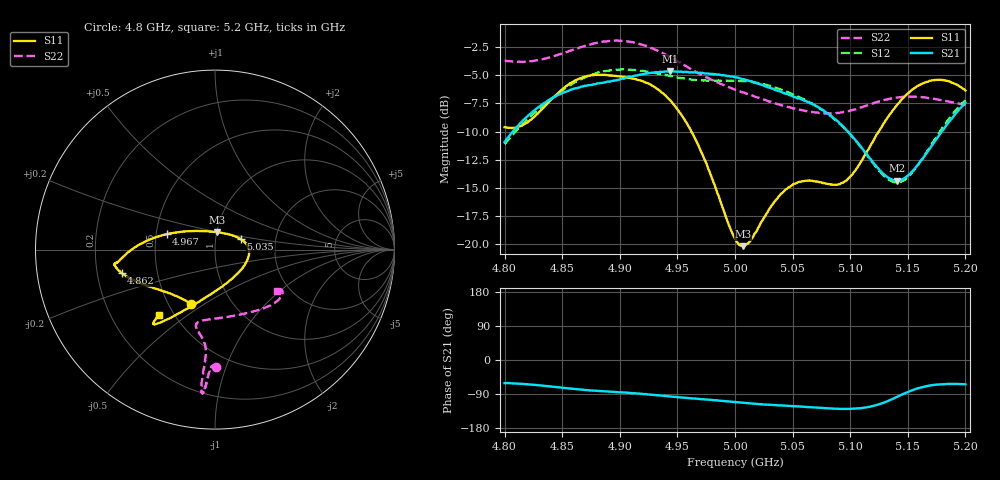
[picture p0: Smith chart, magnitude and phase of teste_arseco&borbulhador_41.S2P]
! Network Analyzer HP8722D
! Hewlett-Packard
! Data name: Linha & Wilkinson
! Saver's name: Rodrigo Anjos
! Comments: Teste da utilização de aquisição
! continua pelo VNA HP8722D
! Time and date: 15/4/2025 15:58
!  Frequency  S11  S21  S12  S22
# HZ  S  MA R 50
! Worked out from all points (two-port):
!   401 points, 4.8 GHz to 5.2 GHz, reference 50 ohm
!   highest |S21| = -4.63 dB at 4.944 GHz (marker M1); lowest = -14.4 dB at 5.141 GHz (marker M2)
!   |S21| within 3 dB of the highest: 4.832 GHz to 5.069 GHz (236.9 MHz wide, 4.79 % of centre); 5.198239 GHz to end of sweep
!   lowest |S11| = -20.2 dB at 5.007 GHz (marker M3), VSWR 1.22, Z = 50.4 + j9.83 ohm
!   |S11| at or under -10 dB: 4.962 GHz to 5.125 GHz (162.7 MHz wide, 3.23 % of centre)
!   |S22| runs from -8.4 to -1.9 dB; largest |S21 - S12| = 0.88
!   S11 on the Smith chart (normalised r, x): 4.8 GHz: 0.65, -0.44; 4.862 GHz: 0.31, -0.11; 4.967 GHz: 0.57, +0.11; 5.035 GHz: 1.33, +0.16; 5.2 GHz: 0.41, -0.39
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4.8e9  0.3307 -114.1  0.2836 -61.0  0.2779 -175.1  0.6538 -89.6
4.819e9  0.3458 -133.8  0.367 -63.9  0.354 -173.5  0.6488 -91.3
4.862e9  0.5363 -165.9  0.4937 -76.9  0.5269 -176.6  0.7394 -93.7
4.867e9  0.5494 -167.8  0.5016 -78.5  0.542 -177.7  0.7544 -93.7
4.899e9  0.5568 -172.4  0.5377 -85.2  0.5971 175.5  0.8032 -95.2
4.934e9  0.4834 -178.2  0.5807 -93.6  0.5712 171.7  0.718 -95.7
4.944e9  0.434 177.2  0.5865 -96.2  0.5573 171.8  0.6761 -95.4
4.967e9  0.2828 162.2  0.5791 -102.3  0.5353 173.9  0.5803 -94.9
5e9  0.1056 106.1  0.5513 -111.0  0.5331 176.3  0.4857 -99.3
5.007e9  0.0975 82.2  0.5406 -112.8  0.5294 176.1  0.472 -100.9
5.014e9  0.1045 59.9  0.5305 -114.8  0.526 176.1  0.4601 -102.6
5.035e9  0.1554 22.1  0.4843 -119.3  0.4961 175.0  0.4214 -103.9
5.05e9  0.1831 6.4  0.4552 -121.7  0.4635 174.3  0.4014 -100.3
5.067e9  0.1908 -12.0  0.4205 -124.8  0.421 173.9  0.3864 -91.6
5.087e9  0.1829 -44.5  0.3588 -128.6  0.3556 173.6  0.3809 -76.7
5.097e9  0.1916 -65.4  0.3197 -129.2  0.3201 174.3  0.3886 -68.4
5.134e9  0.3744 -116.4  0.1955 -106.5  0.1918 -159.3  0.4419 -43.4
5.141e9  0.4174 -120.4  0.191 -96.8  0.1875 -148.3  0.4482 -40.2
5.152e9  0.4765 -124.8  0.2053 -81.9  0.2027 -131.1  0.4518 -36.3
5.17e9  0.5329 -128.9  0.2695 -66.9  0.2748 -112.9  0.4443 -32.1
5.184e9  0.5318 -130.1  0.3405 -63.2  0.3507 -107.3  0.4316 -31.2
5.2e9  0.4816 -130.6  0.4246 -64.3  0.4359 -106.3  0.4153 -33.5
